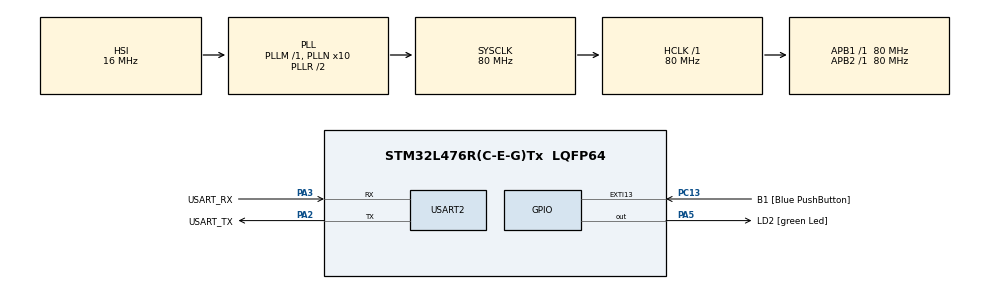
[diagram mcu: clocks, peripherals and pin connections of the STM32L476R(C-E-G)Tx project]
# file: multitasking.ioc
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FREERTOS.Tasks01=defaultTask,0,128,StartDefaultTask,Default,NULL,Dynamic,NULL,NULL
Mcu.Family=STM32L4
Mcu.Name=STM32L476R(C-E-G)Tx
Mcu.Package=LQFP64
NVIC.PriorityGroup=NVIC_PRIORITYGROUP_4
PA13\ (JTMS-SWDIO).GPIO_Label=TMS
PA13\ (JTMS-SWDIO).Mode=Serial_Wire
PA13\ (JTMS-SWDIO).Signal=SYS_JTMS-SWDIO
PA14\ (JTCK-SWCLK).GPIO_Label=TCK
PA14\ (JTCK-SWCLK).Mode=Serial_Wire
PA14\ (JTCK-SWCLK).Signal=SYS_JTCK-SWCLK
PA2.GPIO_Label=USART_TX
PA2.GPIO_Mode=GPIO_MODE_AF_PP
PA2.GPIO_PuPd=GPIO_NOPULL
PA2.GPIO_Speed=GPIO_SPEED_FREQ_VERY_HIGH
PA2.Mode=Asynchronous
PA2.Signal=USART2_TX
PA3.GPIO_Label=USART_RX
PA3.GPIO_Mode=GPIO_MODE_AF_PP
PA3.GPIO_PuPd=GPIO_NOPULL
PA3.GPIO_Speed=GPIO_SPEED_FREQ_VERY_HIGH
PA3.Mode=Asynchronous
PA3.Signal=USART2_RX
PA5.GPIO_Label=LD2 [green Led]
PA5.GPIO_ModeDefaultOutputPP=GPIO_MODE_OUTPUT_PP
PA5.GPIO_PuPd=GPIO_NOPULL
PA5.GPIO_Speed=GPIO_SPEED_FREQ_LOW
PA5.Signal=GPIO_Output
PB3\ (JTDO-TRACESWO).GPIO_Label=SWO
PB3\ (JTDO-TRACESWO).Signal=SYS_JTDO-SWO
PC13.GPIO_Label=B1 [Blue PushButton]
PC13.GPIO_ModeDefaultEXTI=GPIO_MODE_IT_FALLING
PC13.GPIO_PuPd=GPIO_NOPULL
PC13.Signal=GPXTI13
PC14-OSC32_IN\ (PC14).Mode=LSE-External-Oscillator
PC14-OSC32_IN\ (PC14).Signal=RCC_OSC32_IN
PC15-OSC32_OUT\ (PC15).Mode=LSE-External-Oscillator
PC15-OSC32_OUT\ (PC15).Signal=RCC_OSC32_OUT
PH0-OSC_IN\ (PH0).Signal=RCC_OSC_IN
PH1-OSC_OUT\ (PH1).Signal=RCC_OSC_OUT
ProjectManager.HeapSize=0x200
ProjectManager.StackSize=0x400
ProjectManager.TargetToolchain=STM32CubeIDE
RCC.ADCFreq_Value=64000000
RCC.AHBFreq_Value=80000000
RCC.APB1Freq_Value=80000000
RCC.APB1TimFreq_Value=80000000
RCC.APB2Freq_Value=80000000
RCC.APB2TimFreq_Value=80000000
RCC.CortexFreq_Value=80000000
RCC.HCLKFreq_Value=80000000
RCC.HSE_VALUE=8000000
RCC.HSI_VALUE=16000000
RCC.MSI_VALUE=4000000
RCC.PLLN=10
RCC.PLLSourceVirtual=RCC_PLLSOURCE_HSI
RCC.PREFETCH_ENABLE=1
RCC.SYSCLKFreq_VALUE=80000000
RCC.SYSCLKSource=RCC_SYSCLKSOURCE_PLLCLK
RCC.USBFreq_Value=64000000
RCC.VCOOutputFreq_Value=160000000
USART2.VirtualMode-Asynchronous=VM_ASYNC
VP_FREERTOS_VS_CMSIS_V1.Mode=CMSIS_V1
board=NUCLEO-L476RG

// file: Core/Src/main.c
/* USER CODE BEGIN Header */
/**
  ******************************************************************************
  * @file           : main.c
  * @brief          : Multi-tasking RGB LED + SWV console printing
  ******************************************************************************
  */
/* USER CODE END Header */

#include "main.h"
#include "cmsis_os.h"
#include <stdio.h>
#include <stdarg.h>

UART_HandleTypeDef huart2;
osThreadId LEDTaskHandle;

/* USER CODE BEGIN PV */
#define RED_PIN    5
#define GREEN_PIN  6
#define BLUE_PIN   7
#define TASK_DELAY_MS 2000  // 2 seconds
/* USER CODE END PV */

void SystemClock_Config(void);
static void MX_GPIO_Init(void);
static void MX_USART2_UART_Init(void);
void LED_Task(void const * argument);

/* USER CODE BEGIN 0 */
// Debug printf for SWV
void debug_printf(const char *fmt, ...)
{
    char buffer[64];
    va_list args;
    va_start(args, fmt);
    vsnprintf(buffer, sizeof(buffer), fmt, args);
    va_end(args);

    uint16_t i = 0;
    while(buffer[i] != '\0')
    {
        ITM_SendChar(buffer[i]);
        i++;
    }
}

// Set RGB LED color
void RGB_SetColor(uint8_t r, uint8_t g, uint8_t b)
{
    if(r) GPIOA->BSRR = (1 << RED_PIN); else GPIOA->BSRR = (1 << (RED_PIN + 16));
    if(g) GPIOA->BSRR = (1 << GREEN_PIN); else GPIOA->BSRR = (1 << (GREEN_PIN + 16));
    if(b) GPIOA->BSRR = (1 << BLUE_PIN); else GPIOA->BSRR = (1 << (BLUE_PIN + 16));
}
/* USER CODE END 0 */

int main(void)
{
    HAL_Init();
    SystemClock_Config();
    MX_GPIO_Init();
    MX_USART2_UART_Init();

    // Create LED Task
    osThreadDef(LEDTaskDef, LED_Task, osPriorityNormal, 0, 128);
    LEDTaskHandle = osThreadCreate(osThread(LEDTaskDef), NULL);

    // Start scheduler
    osKernelStart();

    while(1); // Should never reach here
}

/* USER CODE BEGIN 4 */
// Single task cycles through all messages & colors
void LED_Task(void const * argument)
{
    while(1)
    {
        debug_printf("Task1 running\r\n");
        RGB_SetColor(1,0,0); // Red
        vTaskDelay(pdMS_TO_TICKS(TASK_DELAY_MS));

        debug_printf("Task2 running\r\n");
        RGB_SetColor(0,1,0); // Green
        vTaskDelay(pdMS_TO_TICKS(TASK_DELAY_MS));

        debug_printf("Task3 running\r\n");
        RGB_SetColor(0,0,1); // Blue
        vTaskDelay(pdMS_TO_TICKS(TASK_DELAY_MS));
    }
}
/* USER CODE END 4 */

/* GPIO Initialization */
static void MX_GPIO_Init(void)
{
    GPIO_InitTypeDef GPIO_InitStruct = {0};
    __HAL_RCC_GPIOA_CLK_ENABLE();

    // Set PA5, PA6, PA7 as output (RGB LED)
    GPIO_InitStruct.Pin = (1<<RED_PIN)|(1<<GREEN_PIN)|(1<<BLUE_PIN);
    GPIO_InitStruct.Mode = GPIO_MODE_OUTPUT_PP;
    GPIO_InitStruct.Pull = GPIO_NOPULL;
    GPIO_InitStruct.Speed = GPIO_SPEED_FREQ_LOW;
    HAL_GPIO_Init(GPIOA, &GPIO_InitStruct);
}

/* USART2 Initialization */
static void MX_USART2_UART_Init(void)
{
    huart2.Instance = USART2;
    huart2.Init.BaudRate = 115200;
    huart2.Init.WordLength = UART_WORDLENGTH_8B;
    huart2.Init.StopBits = UART_STOPBITS_1;
    huart2.Init.Parity = UART_PARITY_NONE;
    huart2.Init.Mode = UART_MODE_TX_RX;
    huart2.Init.HwFlowCtl = UART_HWCONTROL_NONE;
    huart2.Init.OverSampling = UART_OVERSAMPLING_16;
    HAL_UART_Init(&huart2);
}

/* System Clock Configuration */
void SystemClock_Config(void)
{
    RCC_OscInitTypeDef RCC_OscInitStruct = {0};
    RCC_ClkInitTypeDef RCC_ClkInitStruct = {0};

    if(HAL_PWREx_ControlVoltageScaling(PWR_REGULATOR_VOLTAGE_SCALE1) != HAL_OK)
        Error_Handler();

    RCC_OscInitStruct.OscillatorType = RCC_OSCILLATORTYPE_HSI;
    RCC_OscInitStruct.HSIState = RCC_HSI_ON;
    RCC_OscInitStruct.HSICalibrationValue = RCC_HSICALIBRATION_DEFAULT;

    RCC_OscInitStruct.PLL.PLLState = RCC_PLL_ON;
    RCC_OscInitStruct.PLL.PLLSource = RCC_PLLSOURCE_HSI;
    RCC_OscInitStruct.PLL.PLLM = 1;
    RCC_OscInitStruct.PLL.PLLN = 10;
    RCC_OscInitStruct.PLL.PLLR = RCC_PLLR_DIV2;
    RCC_OscInitStruct.PLL.PLLQ = RCC_PLLQ_DIV2;

    if(HAL_RCC_OscConfig(&RCC_OscInitStruct) != HAL_OK)
        Error_Handler();

    RCC_ClkInitStruct.ClockType = RCC_CLOCKTYPE_HCLK|RCC_CLOCKTYPE_SYSCLK
                                |RCC_CLOCKTYPE_PCLK1|RCC_CLOCKTYPE_PCLK2;
    RCC_ClkInitStruct.SYSCLKSource = RCC_SYSCLKSOURCE_PLLCLK;
    RCC_ClkInitStruct.AHBCLKDivider = RCC_SYSCLK_DIV1;
    RCC_ClkInitStruct.APB1CLKDivider = RCC_HCLK_DIV1;
    RCC_ClkInitStruct.APB2CLKDivider = RCC_HCLK_DIV1;
    if(HAL_RCC_ClockConfig(&RCC_ClkInitStruct, FLASH_LATENCY_4) != HAL_OK)
        Error_Handler();
}

/* Error Handler */
void Error_Handler(void)
{
    __disable_irq();
    while(1);
}
